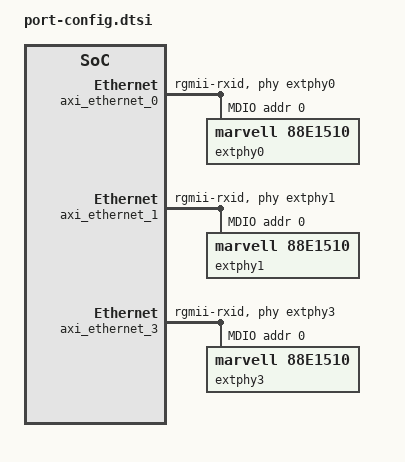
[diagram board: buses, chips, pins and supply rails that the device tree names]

    &axi_ethernet_0 {  
        local-mac-address = [00 0a 35 00 01 22];  
        phy-handle = <&extphy0>;  
        xlnx,has-mdio = <0x1>;  
        phy-mode = "rgmii-rxid";  
        mdio {  
            #address-cells = <1>;  
            #size-cells = <0>;  
            extphy0: phy@0 {  
                compatible = "marvell,88e1510";  
                device_type = "ethernet-phy";  
                reg = <0>;  
            };  
        };  
    };  
      
    &axi_ethernet_1 {  
        local-mac-address = [00 0a 35 00 01 23];  
        phy-handle = <&extphy1>;  
        xlnx,has-mdio = <0x1>;  
        phy-mode = "rgmii-rxid";  
        mdio {  
            #address-cells = <1>;  
            #size-cells = <0>;  
            extphy1: phy@0 {  
                compatible = "marvell,88e1510";  
                device_type = "ethernet-phy";  
                reg = <0>;  
            };  
        };  
    };  
      
    &axi_ethernet_3 {  
        local-mac-address = [00 0a 35 00 01 25];  
        phy-handle = <&extphy3>;  
        xlnx,has-mdio = <0x1>;  
        phy-mode = "rgmii-rxid";  
        mdio {  
            #address-cells = <1>;  
            #size-cells = <0>;  
            extphy3: phy@0 {  
                compatible = "marvell,88e1510";  
                device_type = "ethernet-phy";  
                reg = <0>;  
            };  
        };  
    };  

